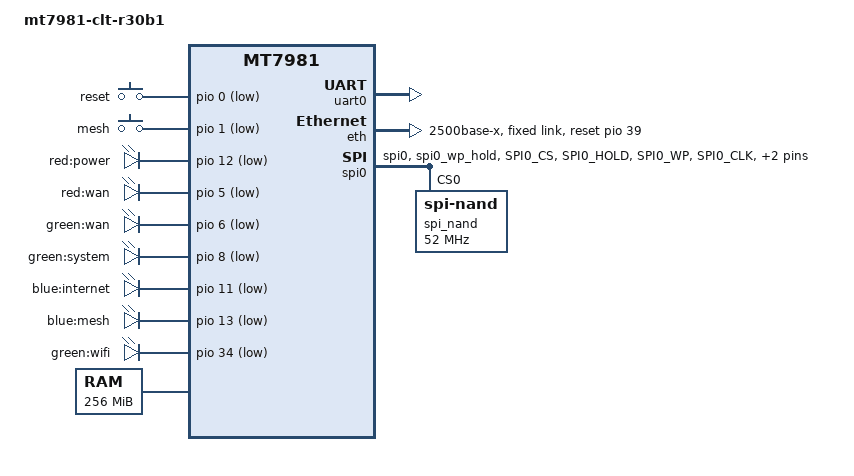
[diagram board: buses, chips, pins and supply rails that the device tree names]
// SPDX-License-Identifier: GPL-2.0

/dts-v1/;
#include "mt7981.dtsi"
#include <dt-bindings/gpio/gpio.h>

/ {
	#address-cells = <1>;
	#size-cells = <1>;
	model = "mt7981-clt-r30b1";
	compatible = "mediatek,mt7981", "mediatek,mt7981-rfb";

	chosen {
		stdout-path = &uart0;
		tick-timer = &timer0;
	};

	config {
		bootcmd = "mtkboardboot";
		blink_led = "red:system";
		system_led = "green:system";
	};

	mtd-layout {
		layout@0 {
			label = "default";
			// mtd layout for clt_r30b1 stock ubi or openwrt-stock/immortalwrt-stock firmware
			mtdids = "nmbm0=nmbm0";
			mtdparts = "nmbm0:1024k(bl2),512k(u-boot-env),2048k(Factory),2048k(fip),64M(ubi),32M(data)";
		};

		layout@1 {
			label = "immortalwrt-112m";
			// mtd layout for immortalwrt/openwrt 112M ubi firmware
			mtdids = "nmbm0=nmbm0";
			mtdparts = "nmbm0:1024k(bl2),512k(u-boot-env),2048k(Factory),2048k(fip),112M(ubi)";
		};

		layout@2 {
			label = "qwrt";
			// mtd layout for lean qwrt
			mtdids = "nmbm0=nmbm0";
			mtdparts = "nmbm0:1024k(bl2),512k(u-boot-env),2048k(Factory),2048k(fip),1024k(rsv0),110M(ubi)";
		};
	};

	gpio-keys {
		compatible = "gpio-keys";

		reset-button {
			label = "reset";
			linux,code = <KEY_RESTART>;
			gpios = <&pio 0 GPIO_ACTIVE_LOW>;
		};

		mesh-button {
			label = "mesh";
			linux,code = <BTN_9>;
			gpios = <&pio 1 GPIO_ACTIVE_LOW>;
		};
	};

	leds {
		compatible = "gpio-leds";

		led-0 {
			label = "red:power";
			gpios = <&pio 12 GPIO_ACTIVE_LOW>;
		};

		system_led: led-1 {
			label = "red:wan";
			gpios = <&pio 5 GPIO_ACTIVE_LOW>;
		};

		led-2 {
			label = "green:wan";
			gpios = <&pio 6 GPIO_ACTIVE_LOW>;
		};

		led-3 {
			label = "green:system";
			gpios = <&pio 8 GPIO_ACTIVE_LOW>;
			default-state = "on";
			linux,default-trigger = "default-on";
		};

		led-4 {
			label = "blue:internet";
			gpios = <&pio 11 GPIO_ACTIVE_LOW>;
		};

		led-5 {
			label = "blue:mesh";
			gpios = <&pio 13 GPIO_ACTIVE_LOW>;
		};

		led-6 {
			label = "green:wifi";
			gpios = <&pio 34 GPIO_ACTIVE_LOW>;
		};
	};

	memory@40000000 {
		device_type = "memory";
		reg = <0x40000000 0x10000000>;
	};

	bl2_verify {
		bl2_compatible = "spim-nand";
	};
};

&uart0 {
	status = "okay";
};

&eth {
	status = "okay";
	mediatek,gmac-id = <0>;
	phy-mode = "2500base-x";
	mediatek,switch = "auto";
	reset-gpios = <&pio 39 GPIO_ACTIVE_HIGH>;

	fixed-link {
		speed = <2500>;
		full-duplex;
	};
};

&pio {
	spi_flash_pins: spi0-pins-func-1 {
		mux {
			function = "flash";
			groups = "spi0", "spi0_wp_hold";
		};

		conf-pu {
			pins = "SPI0_CS", "SPI0_HOLD", "SPI0_WP";
			drive-strength = <MTK_DRIVE_4mA>;
			bias-pull-up = <MTK_PUPD_SET_R1R0_11>;
		};

		conf-pd {
			pins = "SPI0_CLK", "SPI0_MOSI", "SPI0_MISO";
			drive-strength = <MTK_DRIVE_4mA>;
			bias-pull-down = <MTK_PUPD_SET_R1R0_11>;
		};
	};
};

&spi0 {
	#address-cells = <1>;
	#size-cells = <0>;
	pinctrl-names = "default";
	pinctrl-0 = <&spi_flash_pins>;
	status = "okay";
	must_tx;
	enhance_timing;
	dma_ext;
	ipm_design;
	support_quad;
	tick_dly = <2>;
	sample_sel = <0>;

	spi_nand@0 {
		compatible = "spi-nand";
		reg = <0>;
		spi-max-frequency = <52000000>;
	};
};

&watchdog {
	status = "disabled";
};
